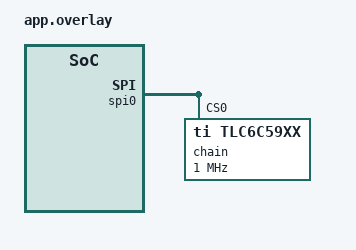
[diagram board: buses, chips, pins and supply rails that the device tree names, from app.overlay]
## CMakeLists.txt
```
# SPDX-FileCopyrightText: Copyright The Zephyr Project Contributors
# SPDX-License-Identifier: Apache-2.0

cmake_minimum_required(VERSION 3.20.0)
find_package(Zephyr REQUIRED HINTS $ENV{ZEPHYR_BASE})
project(tlc6c59xx)

target_sources(app PRIVATE
  src/main.c
)
```

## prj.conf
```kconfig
# SPDX-FileCopyrightText: Copyright The Zephyr Project Contributors
# SPDX-License-Identifier: Apache-2.0

CONFIG_ZTEST=y
CONFIG_GPIO=y
CONFIG_SPI=y
CONFIG_EMUL=y
CONFIG_IRQ_OFFLOAD=y
CONFIG_MAIN_STACK_SIZE=4096
```

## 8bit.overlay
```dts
/*
 * SPDX-FileCopyrightText: Copyright The Zephyr Project Contributors
 * SPDX-License-Identifier: Apache-2.0
 */

&chip0 {
	ngpios = <8>;
};

&chip1 {
	ngpios = <8>;
};

&chip2 {
	ngpios = <8>;
};
```

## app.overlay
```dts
/*
 * SPDX-FileCopyrightText: Copyright The Zephyr Project Contributors
 * SPDX-License-Identifier: Apache-2.0
 */

&spi0 {
	chain: shift-register@0 {
		compatible = "ti,tlc6c59xx";
		reg = <0>;
		spi-max-frequency = <1000000>;
		#address-cells = <1>;
		#size-cells = <0>;

		chip0: gpio@0 {
			compatible = "ti,tlc6c59xx-gpio";
			reg = <0>;
			gpio-controller;
			#gpio-cells = <2>;
			ngpios = <12>;
		};

		chip1: gpio@1 {
			compatible = "ti,tlc6c59xx-gpio";
			reg = <1>;
			gpio-controller;
			#gpio-cells = <2>;
			ngpios = <12>;
		};

		chip2: gpio@2 {
			compatible = "ti,tlc6c59xx-gpio";
			reg = <2>;
			gpio-controller;
			#gpio-cells = <2>;
			ngpios = <12>;
		};
	};
};
```

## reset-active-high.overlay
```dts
/*
 * SPDX-FileCopyrightText: Copyright The Zephyr Project Contributors
 * SPDX-License-Identifier: Apache-2.0
 */

&chain {
	reset-gpios = <&gpio0 1 GPIO_ACTIVE_HIGH>;
};
```

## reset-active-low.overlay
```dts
/*
 * SPDX-FileCopyrightText: Copyright The Zephyr Project Contributors
 * SPDX-License-Identifier: Apache-2.0
 */

&chain {
	reset-gpios = <&gpio0 1 GPIO_ACTIVE_LOW>;
};
```

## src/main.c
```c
/*
 * SPDX-FileCopyrightText: Copyright The Zephyr Project Contributors
 * SPDX-License-Identifier: Apache-2.0
 */

#include <string.h>
#include <zephyr/drivers/emul.h>
#include <zephyr/drivers/gpio.h>
#include <zephyr/drivers/gpio/gpio_emul.h>
#include <zephyr/drivers/spi_emul.h>
#include <zephyr/drivers/mfd/tlc6c59xx.h>
#include <zephyr/irq_offload.h>
#include <zephyr/ztest.h>

#define WIDTH DT_PROP(DT_NODELABEL(chip0), ngpios)
#define PORT_MASK BIT_MASK(WIDTH)
#define FRAME_SIZE DIV_ROUND_UP(3U * WIDTH, 8U)

struct reset_trace {
	struct gpio_callback callback;
	gpio_port_value_t levels[3];
	size_t count;
};

struct chain_emul_data {
	uint8_t frame[FRAME_SIZE];
	uint32_t calls;
	int next_error;
	bool delay;
	struct reset_trace reset;
};

static void reset_changed(const struct device *port, struct gpio_callback *callback,
			  gpio_port_pins_t pins)
{
	struct reset_trace *trace = CONTAINER_OF(callback, struct reset_trace, callback);

	zassert_true(trace->count < ARRAY_SIZE(trace->levels), "unexpected reset transition");
	zassert_ok(gpio_emul_output_get_masked(port, pins, &trace->levels[trace->count]));
	trace->count++;
}

static void check_reset(const struct chain_emul_data *data)
{
	const struct gpio_dt_spec reset =
		GPIO_DT_SPEC_GET_OR(DT_NODELABEL(chain), reset_gpios, {0});
	gpio_flags_t flags;
	gpio_port_value_t inactive;

	if (reset.port == NULL) {
		zassert_equal(data->reset.count, 0U);
		return;
	}

	inactive = (reset.dt_flags & GPIO_ACTIVE_LOW) != 0U ? BIT(reset.pin) : 0U;
	zassert_equal(data->reset.count, 3U);
	zassert_equal(data->reset.levels[0], inactive, "reset must start inactive");
	zassert_equal(data->reset.levels[1], inactive ^ BIT(reset.pin), "missing reset pulse");
	zassert_equal(data->reset.levels[2], inactive, "reset must finish inactive");
	zassert_ok(gpio_emul_flags_get_dt(&reset, &flags));
	zassert_true((flags & GPIO_OUTPUT) != 0U);
}

static int chain_io(const struct emul *target, const struct spi_config *config,
		    const struct spi_buf_set *tx, const struct spi_buf_set *rx)
{
	struct chain_emul_data *data = target->data;
	int ret = data->next_error;

	zassert_equal(SPI_WORD_SIZE_GET(config->operation), 8U);
	zassert_equal(config->operation & SPI_TRANSFER_LSB, 0U);
	zassert_is_null(rx);
	zassert_not_null(tx);
	zassert_equal(tx->count, 1U);
	zassert_equal(tx->buffers[0].len, FRAME_SIZE);
	check_reset(data);
	data->calls++;
	data->next_error = 0;
	if (data->delay) {
		/* Let a second writer run while the first is waiting for SPI. */
		k_sleep(K_MSEC(1));
	}
	if (ret == 0) {
		memcpy(data->frame, tx->buffers[0].buf, FRAME_SIZE);
	}
	return ret;
}

static const struct spi_emul_api chain_api = {
	.io = chain_io,
};

static int chain_init(const struct emul *target, const struct device *bus)
{
	const struct gpio_dt_spec reset =
		GPIO_DT_SPEC_GET_OR(DT_NODELABEL(chain), reset_gpios, {0});
	struct chain_emul_data *data = target->data;

	ARG_UNUSED(bus);
	if (reset.port != NULL) {
		if (!gpio_is_ready_dt(&reset)) {
			return -ENODEV;
		}
		gpio_init_callback(&data->reset.callback, reset_changed, BIT(reset.pin));
		return gpio_add_callback(reset.port, &data->reset.callback);
	}
	return 0;
}

static struct chain_emul_data chain_data;
EMUL_DT_DEFINE(DT_NODELABEL(chain), chain_init, &chain_data, NULL, &chain_api, NULL);

struct tlc6c59xx_fixture {
	const struct device *parent;
	const struct device *chips[3];
	struct chain_emul_data *emul;
};

static void *setup(void)
{
	static struct tlc6c59xx_fixture fixture = {
		.parent = DEVICE_DT_GET(DT_NODELABEL(chain)),
		.chips = {
			DEVICE_DT_GET(DT_NODELABEL(chip0)),
			DEVICE_DT_GET(DT_NODELABEL(chip1)),
			DEVICE_DT_GET(DT_NODELABEL(chip2)),
		},
		.emul = &chain_data,
	};

	zassert_true(IS_ENABLED(CONFIG_MFD));
	zassert_true(IS_ENABLED(CONFIG_MFD_TLC6C59XX));
	zassert_true(device_is_ready(fixture.parent));
	check_reset(fixture.emul);
	for (size_t i = 0U; i < ARRAY_SIZE(fixture.chips); i++) {
		zassert_true(device_is_ready(fixture.chips[i]));
	}
	/* Parent initialization must send one all-zero chain frame. */
	zassert_equal(fixture.emul->calls, 1U);
	for (size_t i = 0U; i < FRAME_SIZE; i++) {
		zassert_equal(fixture.emul->frame[i], 0U);
	}
	return &fixture;
}

static void before(void *arg)
{
	struct tlc6c59xx_fixture *fixture = arg;

	fixture->emul->next_error = 0;
	fixture->emul->delay = false;
	for (size_t i = 0U; i < ARRAY_SIZE(fixture->chips); i++) {
		zassert_ok(gpio_port_clear_bits_raw(fixture->chips[i], PORT_MASK));
	}
}

/* Decode the wire frame as an integer, independently of the driver's bit loop. */
static void expect_words(struct tlc6c59xx_fixture *fixture, uint16_t near, uint16_t middle,
			 uint16_t far)
{
	uint64_t frame = 0U;
	uint64_t expected = ((uint64_t)far << (2U * WIDTH)) |
			    ((uint64_t)middle << WIDTH) | near;

	for (size_t i = 0U; i < FRAME_SIZE; i++) {
		frame = (frame << 8U) | fixture->emul->frame[i];
	}
	zassert_equal(frame, expected, "incorrect chain order, state or leading padding");
}

ZTEST_F(tlc6c59xx, test_packing)
{
	zassert_ok(gpio_port_set_masked_raw(fixture->chips[0], PORT_MASK, 0x123U & PORT_MASK));
	zassert_ok(gpio_port_set_masked_raw(fixture->chips[1], PORT_MASK, 0x456U & PORT_MASK));
	zassert_ok(gpio_port_set_masked_raw(fixture->chips[2], PORT_MASK, 0x789U & PORT_MASK));
	expect_words(fixture, 0x123U & PORT_MASK, 0x456U & PORT_MASK, 0x789U & PORT_MASK);
}

ZTEST_F(tlc6c59xx, test_every_output)
{
	uint16_t words[3] = {0};

	for (size_t chip = 0U; chip < ARRAY_SIZE(fixture->chips); chip++) {
		for (size_t pin = 0U; pin < WIDTH; pin++) {
			words[chip] |= BIT(pin);
			zassert_ok(gpio_port_set_bits_raw(fixture->chips[chip], BIT(pin)));
			expect_words(fixture, words[0], words[1], words[2]);
		}
	}
	for (size_t chip = 0U; chip < ARRAY_SIZE(fixture->chips); chip++) {
		for (size_t pin = 0U; pin < WIDTH; pin++) {
			words[chip] &= ~BIT(pin);
			zassert_ok(gpio_port_clear_bits_raw(fixture->chips[chip], BIT(pin)));
			expect_words(fixture, words[0], words[1], words[2]);
		}
	}
}

ZTEST_F(tlc6c59xx, test_gpio_operations)
{
	const struct device *dev = fixture->chips[0];

	zassert_ok(gpio_pin_configure(dev, 0U, GPIO_OUTPUT_HIGH));
	zassert_ok(gpio_pin_configure(dev, 1U, GPIO_OUTPUT_HIGH));
	zassert_ok(gpio_pin_configure(dev, 0U, GPIO_OUTPUT_LOW));
	expect_words(fixture, 2U, 0U, 0U);
	zassert_ok(gpio_port_set_masked_raw(dev, 3U, 0xffU));
	expect_words(fixture, 3U, 0U, 0U);
	zassert_ok(gpio_port_toggle_bits(dev, 5U));
	expect_words(fixture, 6U, 0U, 0U);
	zassert_ok(gpio_port_clear_bits_raw(dev, 2U));
	zassert_ok(gpio_port_set_bits_raw(dev, BIT(WIDTH - 1U)));
	expect_words(fixture, BIT(WIDTH - 1U) | 4U, 0U, 0U);
	zassert_ok(gpio_pin_configure(dev, 2U, GPIO_OUTPUT));
	expect_words(fixture, BIT(WIDTH - 1U) | 4U, 0U, 0U);
}

ZTEST_F(tlc6c59xx, test_active_low)
{
	const struct device *dev = fixture->chips[1];

	zassert_ok(gpio_pin_configure(dev, 0U, GPIO_OUTPUT_ACTIVE | GPIO_ACTIVE_LOW));
	expect_words(fixture, 0U, 0U, 0U);
	zassert_ok(gpio_pin_set(dev, 0U, 0));
	expect_words(fixture, 0U, 1U, 0U);
	zassert_ok(gpio_pin_set(dev, 0U, 1));
	expect_words(fixture, 0U, 0U, 0U);
	zassert_ok(gpio_pin_configure(dev, 0U, GPIO_OUTPUT_LOW));
}

ZTEST_F(tlc6c59xx, test_spi_failure_rollback)
{
	const struct device *dev = fixture->chips[0];

	for (size_t operation = 0U; operation < 6U; operation++) {
		int ret;

		zassert_ok(gpio_port_set_masked_raw(dev, PORT_MASK, 5U));
		fixture->emul->next_error = -EIO;
		switch (operation) {
		case 0:
			ret = gpio_port_set_masked_raw(dev, PORT_MASK, 2U);
			break;
		case 1:
			ret = gpio_port_set_bits_raw(dev, 2U);
			break;
		case 2:
			ret = gpio_port_clear_bits_raw(dev, 1U);
			break;
		case 3:
			ret = gpio_port_toggle_bits(dev, 3U);
			break;
		case 4:
			ret = gpio_pin_configure(dev, 0U, GPIO_OUTPUT_LOW);
			break;
		default:
			ret = gpio_pin_configure(dev, 1U, GPIO_OUTPUT_HIGH);
			break;
		}
		zassert_equal(ret, -EIO);
		/* Another child must not replay the failed parent-cache update. */
		zassert_ok(gpio_port_set_bits_raw(fixture->chips[1], 8U));
		expect_words(fixture, 5U, 8U, 0U);
		/* Updating this child must also use its last successful state. */
		zassert_ok(gpio_port_toggle_bits(dev, 1U));
		expect_words(fixture, 4U, 8U, 0U);
	}
}

ZTEST_F(tlc6c59xx, test_rejected_requests)
{
	const struct device *dev = fixture->chips[0];
	const struct gpio_driver_api *api = DEVICE_API_GET(gpio, dev);
	const gpio_flags_t unsupported[] = {
		GPIO_INPUT, GPIO_DISCONNECTED, GPIO_OUTPUT | GPIO_PULL_UP,
		GPIO_OUTPUT | GPIO_PULL_DOWN, GPIO_OUTPUT | GPIO_OPEN_DRAIN,
		GPIO_OUTPUT | GPIO_OPEN_SOURCE,
	};
	uint32_t calls = fixture->emul->calls;
	gpio_port_value_t value;

	for (size_t i = 0U; i < ARRAY_SIZE(unsupported); i++) {
		zassert_equal(gpio_pin_configure(dev, 0U, unsupported[i]), -ENOTSUP);
	}
	/* Bypass public pin assertions to exercise the driver's bounds checks. */
	zassert_equal(api->pin_configure(dev, WIDTH, GPIO_OUTPUT), -EINVAL);
	zassert_equal(gpio_port_set_bits_raw(dev, BIT(WIDTH)), -EINVAL);
	zassert_equal(gpio_port_clear_bits_raw(dev, BIT(WIDTH)), -EINVAL);
	zassert_equal(gpio_port_toggle_bits(dev, BIT(WIDTH)), -EINVAL);
	zassert_equal(gpio_port_set_masked_raw(dev, BIT(WIDTH), 0U), -EINVAL);
	zassert_equal(gpio_port_get_raw(dev, &value), -ENOTSUP);
	zassert_equal(gpio_pin_interrupt_configure(dev, 0U, GPIO_INT_EDGE_RISING), -ENOTSUP);
	zassert_equal(tlc6c59xx_write_state(fixture->parent, 3U, 0U), -EINVAL);
	zassert_equal(tlc6c59xx_write_state(fixture->parent, 0U, BIT(WIDTH)), -EINVAL);
	zassert_equal(fixture->emul->calls, calls);
}

static void isr_requests(const void *arg)
{
	const struct tlc6c59xx_fixture *fixture = arg;
	const struct device *dev = fixture->chips[0];

	zassert_equal(gpio_pin_configure(dev, 0U, GPIO_OUTPUT), -EWOULDBLOCK);
	zassert_equal(gpio_port_set_bits_raw(dev, 1U), -EWOULDBLOCK);
	zassert_equal(gpio_port_clear_bits_raw(dev, 1U), -EWOULDBLOCK);
	zassert_equal(gpio_port_set_masked_raw(dev, 1U, 1U), -EWOULDBLOCK);
	zassert_equal(gpio_port_toggle_bits(dev, 1U), -EWOULDBLOCK);
	zassert_equal(tlc6c59xx_write_state(fixture->parent, 0U, 1U), -EWOULDBLOCK);
}

ZTEST_F(tlc6c59xx, test_isr_rejection)
{
	uint32_t calls = fixture->emul->calls;

	irq_offload(isr_requests, fixture);
	zassert_equal(fixture->emul->calls, calls);
}

static void toggle_worker(void *dev, void *mask, void *unused)
{
	ARG_UNUSED(unused);
	for (size_t i = 0U; i < 101U; i++) {
		zassert_ok(gpio_port_toggle_bits(dev, (uintptr_t)mask));
	}
}

static void concurrent_updates(struct tlc6c59xx_fixture *fixture, bool separate_chips)
{
	static K_THREAD_STACK_ARRAY_DEFINE(stacks, 2, 2048);
	struct k_thread threads[2];

	fixture->emul->delay = true;
	for (size_t i = 0U; i < ARRAY_SIZE(threads); i++) {
		k_thread_create(&threads[i], stacks[i], K_THREAD_STACK_SIZEOF(stacks[i]),
				toggle_worker, (void *)fixture->chips[separate_chips ? i : 0U],
				(void *)BIT(i), NULL,
				K_PRIO_PREEMPT(1), 0, K_NO_WAIT);
	}
	for (size_t i = 0U; i < ARRAY_SIZE(threads); i++) {
		zassert_ok(k_thread_join(&threads[i], K_SECONDS(5)));
	}
	fixture->emul->delay = false;
	expect_words(fixture, separate_chips ? 1U : 3U, separate_chips ? 2U : 0U, 0U);
}

ZTEST_F(tlc6c59xx, test_concurrent_same_chip)
{
	concurrent_updates(fixture, false);
}

ZTEST_F(tlc6c59xx, test_concurrent_different_chips)
{
	concurrent_updates(fixture, true);
}

ZTEST_SUITE(tlc6c59xx, NULL, setup, before, NULL, NULL);
```
